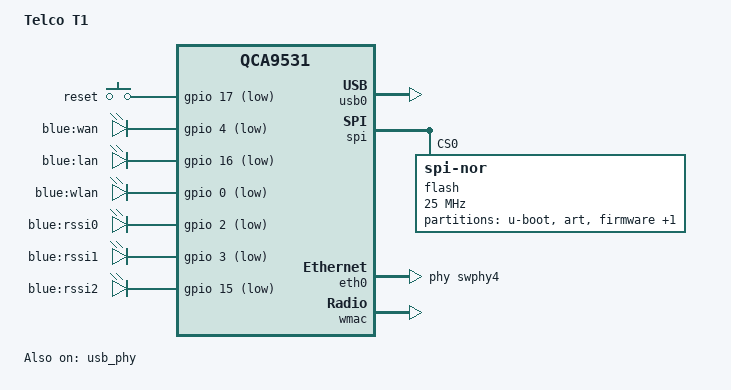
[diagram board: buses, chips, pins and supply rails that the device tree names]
// SPDX-License-Identifier: GPL-2.0-or-later OR MIT

#include "qca953x.dtsi"

#include <dt-bindings/gpio/gpio.h>
#include <dt-bindings/input/input.h>

/ {
	compatible = "telco,t1", "qca,qca9531";
	model = "Telco T1";

	aliases {
		label-mac-device = &eth0;
		led-boot = &led_rssi0;
		led-failsafe = &led_rssi0;
		led-running = &led_rssi0;
		led-upgrade = &led_rssi0;
	};

	keys {
		compatible = "gpio-keys";

		reset {
			label = "reset";
			linux,code = <KEY_RESTART>;
			gpios = <&gpio 17 GPIO_ACTIVE_LOW>;
		};
	};

	leds {
		compatible = "gpio-leds";
		pinctrl-names = "default";
		pinctrl-0 = <&jtag_disable_pins &pinmux_led_wan_pin>;

		wan {
			label = "blue:wan";
			gpios = <&gpio 4 GPIO_ACTIVE_LOW>;
		};

		lan {
			label = "blue:lan";
			gpios = <&gpio 16 GPIO_ACTIVE_LOW>;
		};

		wlan {
			label = "blue:wlan";
			gpios = <&gpio 0 GPIO_ACTIVE_LOW>;
			linux,default-trigger = "phy0tpt";
		};

		led_rssi0: rssi0 {
			label = "blue:rssi0";
			gpios = <&gpio 2 GPIO_ACTIVE_LOW>;
		};

		rssi1 {
			label = "blue:rssi1";
			gpios = <&gpio 3 GPIO_ACTIVE_LOW>;
		};

		rssi2 {
			label = "blue:rssi2";
			gpios = <&gpio 15 GPIO_ACTIVE_LOW>;
		};
	};
};

&usb0 {
	status = "okay";
};

&usb_phy {
	status = "okay";
};

&spi {
	status = "okay";

	flash@0 {
		compatible = "jedec,spi-nor";
		reg = <0>;
		spi-max-frequency = <25000000>;

		partitions {
			compatible = "fixed-partitions";
			#address-cells = <1>;
			#size-cells = <1>;

			partition@0 {
				label = "u-boot";
				reg = <0x000000 0x010000>;
				read-only;
			};

			art: partition@10000 {
				label = "art";
				reg = <0x010000 0x010000>;
				read-only;
			};

			partition@20000 {
				compatible = "denx,uimage";
				label = "firmware";
				reg = <0x020000 0xfd0000>;
			};

			partition@ff0000 {
				label = "art-backup";
				reg = <0xff0000 0x010000>;
				read-only;
			};
		};
	};
};

&eth0 {
	status = "okay";

	phy-handle = <&swphy4>;

	nvmem-cells = <&macaddr_art_0>;
	nvmem-cell-names = "mac-address";
};

&eth1 {
	nvmem-cells = <&macaddr_art_6>;
	nvmem-cell-names = "mac-address";
};

&wmac {
	status = "okay";

	mtd-cal-data = <&art 0x1000>;
};

&pinmux {
	pinmux_led_wan_pin: led_wan_pin {
		pinctrl-single,bits = <0x4 0x0 0xff>;
	};
};

&art {
	compatible = "nvmem-cells";
	#address-cells = <1>;
	#size-cells = <1>;

	macaddr_art_0: macaddr@0 {
		reg = <0x0 0x6>;
	};

	macaddr_art_6: macaddr@6 {
		reg = <0x6 0x6>;
	};
};
